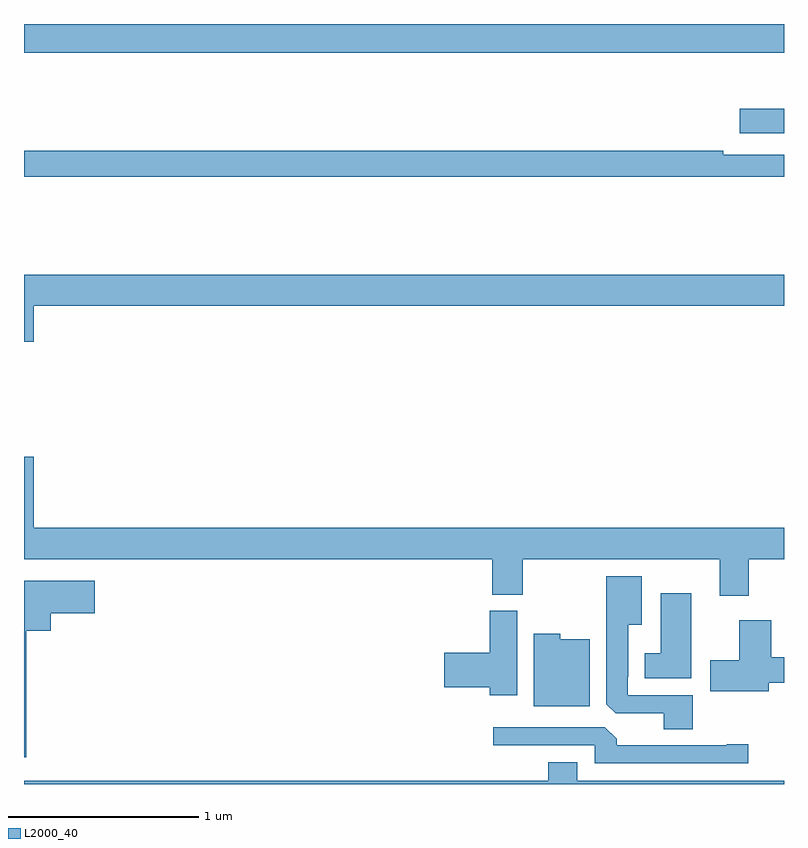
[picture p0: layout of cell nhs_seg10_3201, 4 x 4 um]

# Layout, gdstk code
import gdstk
lib = gdstk.Library(unit=1e-6, precision=1e-09)
def R(c, l, rs):  # rectangles x0, y0, x1, y1
    for r in rs: c.add(gdstk.rectangle(r[:2], r[2:], *l))
def P(c, l, *ps):  # polygons
    for p in ps: c.add(gdstk.Polygon(p, *l))
L2000_40 = (2000, 40)

nhs_seg10_3201 = lib.new_cell('nhs_seg10_3201')
R(nhs_seg10_3201, L2000_40, [(288.768,1267.925,289,1268.055), (285,1268.348,289,1268.5)])
P(nhs_seg10_3201, L2000_40, [(289,1267.812),(288.68,1267.812),(288.68,1267.832),(285,1267.832),(285,1267.696),(289,1267.696)],
  [(285.052,1267.016),(289,1267.016),(289,1267.18),(285,1267.18),(285,1266.828),(285.052,1266.828)],
  [(288.815,1265.684),(289,1265.684),(289,1265.848),(285.052,1265.848),(285.052,1266.223),(285,1266.223),(285,1265.684),(287.465,1265.684),(287.465,1265.497),(287.625,1265.497),(287.625,1265.684),(288.662,1265.684),(288.662,1265.49),(288.815,1265.49)],
  [(288.521,1264.968),(288.177,1264.968),(288.177,1265.065),(288.181,1265.065),(288.181,1265.339),(288.25,1265.339),(288.25,1265.593),(288.065,1265.593),(288.065,1264.921),(288.114,1264.872),(288.368,1264.872),(288.368,1264.789),(288.521,1264.789)],
  [(285.013,1265.306),(285.142,1265.306),(285.142,1265.399),(285.373,1265.399),(285.373,1265.569),(285,1265.569),(285,1264.641),(285.013,1264.641)],
  [(288.511,1265.503),(288.35,1265.503),(288.35,1265.188),(288.266,1265.188),(288.266,1265.057),(288.511,1265.057)],
  [(287.596,1265.412),(287.45,1265.412),(287.45,1265.192),(287.211,1265.192),(287.211,1265.009),(287.45,1265.009),(287.45,1264.968),(287.596,1264.968)],
  [(288.919,1265.032),(289,1265.032),(289,1265.168),(288.932,1265.168),(288.932,1265.362),(288.764,1265.362),(288.764,1265.151),(288.612,1265.151),(288.612,1264.988),(288.919,1264.988)],
  [(287.977,1265.263),(287.823,1265.263),(287.823,1265.29),(287.684,1265.29),(287.684,1264.91),(287.977,1264.91)],
  [(288.811,1264.709),(288.698,1264.709),(288.698,1264.704),(288.119,1264.704),(288.119,1264.738),(288.057,1264.8),(287.469,1264.8),(287.469,1264.704),(288.003,1264.704),(288.003,1264.608),(288.811,1264.608)],
  [(289,1264.516),(287.911,1264.516),(287.911,1264.615),(287.759,1264.615),(287.759,1264.516),(285,1264.516),(285,1264.5),(289,1264.5)])

lib.write_gds('nhs_seg10_3201.gds')
